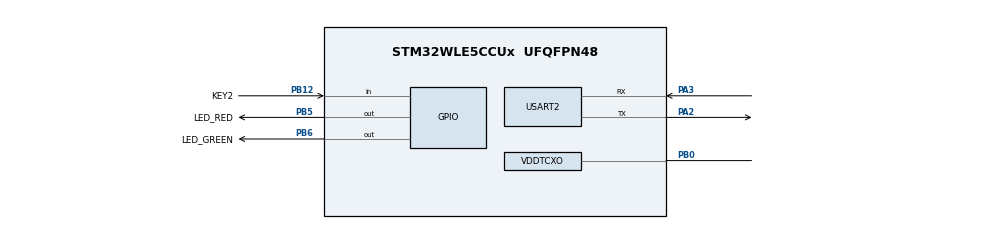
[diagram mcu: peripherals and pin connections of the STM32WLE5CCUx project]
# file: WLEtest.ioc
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FREERTOS.Queues01=myQueue01,2,uint8_t,0,Dynamic,NULL,NULL
FREERTOS.Tasks01=defaultTask,24,128,StartDefaultTask,Default,NULL,Dynamic,NULL,NULL;LEDTask,8,128,Task_LED,Default,NULL,Dynamic,NULL,NULL;KEYTack,8,128,Tack_key,Default,NULL,Dynamic,NULL,NULL
FREERTOS.configUSE_NEWLIB_REENTRANT=1
Mcu.Family=STM32WL
Mcu.Name=STM32WLE5CCUx
Mcu.Package=UFQFPN48
NVIC.PriorityGroup=NVIC_PRIORITYGROUP_4
NVIC.TIM17_IRQn=true\:15\:0\:false\:false\:true\:false\:false\:true
NVIC.TimeBase=TIM17_IRQn
NVIC.TimeBaseIP=TIM17
NVIC.USART2_IRQn=true\:5\:0\:false\:false\:true\:true\:true\:true
OSC_IN.Mode=HSE-TCXO
OSC_IN.Signal=RCC_OSC_IN
PA2.Mode=Asynchronous
PA2.Signal=USART2_TX
PA3.Mode=Asynchronous
PA3.Signal=USART2_RX
PB0-VDD_TCXO.Mode=HSE-TCXO
PB0-VDD_TCXO.Signal=VDDTCXO
PB12.GPIO_Label=KEY2
PB12.Signal=GPIO_Input
PB5.GPIO_Label=LED_RED
PB5.PinState=GPIO_PIN_SET
PB5.Signal=GPIO_Output
PB6.GPIO_Label=LED_GREEN
PB6.GPIO_PuPd=GPIO_NOPULL
PB6.PinState=GPIO_PIN_SET
PB6.Signal=GPIO_Output
ProjectManager.HeapSize=0x200
ProjectManager.StackSize=0x400
ProjectManager.TargetToolchain=STM32CubeIDE
RCC.AHBFreq_Value=4000000
RCC.APB1Freq_Value=4000000
RCC.APB1TimFreq_Value=4000000
RCC.APB2Freq_Value=4000000
RCC.APB2TimFreq_Value=4000000
RCC.APB3Freq_Value=4000000
RCC.CortexFreq_Value=4000000
RCC.HCLKFreq_Value=4000000
RCC.HSE_VALUE=24000000
RCC.HSI_VALUE=16000000
RCC.LSE_VALUE=32768
RCC.PLLN=24
RCC.SYSCLKFreq_VALUE=4000000
RCC.VCOOutputFreq_Value=96000000
USART2.VirtualMode-Asynchronous=VM_ASYNC
VP_FREERTOS_VS_CMSIS_V2.Mode=CMSIS_V2
VP_SYS_VS_tim17.Mode=TIM17
board=custom

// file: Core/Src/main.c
/* USER CODE BEGIN Header */
/**
  ******************************************************************************
  * @file           : main.c
  * @brief          : Main program body
  ******************************************************************************
  * @attention
  *
  * Copyright (c) 2022 STMicroelectronics.
  * All rights reserved.
  *
  * This software is licensed under terms that can be found in the LICENSE file
  * in the root directory of this software component.
  * If no LICENSE file comes with this software, it is provided AS-IS.
  *
  ******************************************************************************
  */
/* USER CODE END Header */
#include "main.h"
#include "cmsis_os.h"
#include "usart.h"
#include "gpio.h"

void SystemClock_Config(void);
void MX_FREERTOS_Init(void);
/* USER CODE BEGIN PFP */
//typedef enum
//{
//	KEY_RELEASE = 0U,
//	KEY_0,
//	KEY_1,
//	KEY_2
//} KEY_State;

/* USER CODE END PFP */

int main(void)
{

  /* MCU Configuration--------------------------------------------------------*/

  /* Reset of all peripherals, Initializes the Flash interface and the Systick. */
  HAL_Init();

  /* Configure the system clock */
  SystemClock_Config();

  /* Initialize all configured peripherals */
  MX_GPIO_Init();
  MX_USART2_UART_Init();
  /* USER CODE BEGIN 2 */
  //GPIOB->BRR = (uint32_t)GPIO_PIN_6;
  /* USER CODE END 2 */

  /* Init scheduler */
  osKernelInitialize();  /* Call init function for freertos objects (in freertos.c) */
  MX_FREERTOS_Init();
  /* Start scheduler */
  osKernelStart();

  /* We should never get here as control is now taken by the scheduler */
  /* Infinite loop */
  /* USER CODE BEGIN WHILE */
  while (1)
  {
	  //HAL_GPIO_WritePin(LED_RED_GPIO_Port, LED_RED_Pin, GPIO_PIN_RESET);
	//  HAL_Delay(2000);
	  //HAL_GPIO_WritePin(LED_RED_GPIO_Port, LED_RED_Pin, GPIO_PIN_SET);
	 // HAL_Delay(1000);

//	  LED_RED_TOGGLE;
<<<<<<< HEAD
//	  if(HAL_GPIO_ReadPin(KEY2_GPIO_Port, KEY2_Pin) == KEY2_PRESS){
//		  LED_RED_TOGGLE;
//		  while(HAL_GPIO_ReadPin(KEY2_GPIO_Port, KEY2_Pin) == KEY2_PRESS){}
//	  }
=======
	  if(HAL_GPIO_ReadPin(KEY2_GPIO_Port, KEY2_Pin) == KEY2_PRESS){
		  LED_GREEN_TOGGLE;
		  while(HAL_GPIO_ReadPin(KEY2_GPIO_Port, KEY2_Pin) == KEY2_PRESS){}
	  }
>>>>>>> 36ef7b47d1cd3d01856f3d4a041b519a8d11bd28
    /* USER CODE END WHILE */

  }
}

void SystemClock_Config(void)
{
  RCC_OscInitTypeDef RCC_OscInitStruct = {0};
  RCC_ClkInitTypeDef RCC_ClkInitStruct = {0};

  /** Configure the main internal regulator output voltage
  */
  __HAL_PWR_VOLTAGESCALING_CONFIG(PWR_REGULATOR_VOLTAGE_SCALE2);
  /** Initializes the CPU, AHB and APB busses clocks
  */
  RCC_OscInitStruct.OscillatorType = RCC_OSCILLATORTYPE_MSI;
  RCC_OscInitStruct.MSIState = RCC_MSI_ON;
  RCC_OscInitStruct.MSICalibrationValue = RCC_MSICALIBRATION_DEFAULT;
  RCC_OscInitStruct.MSIClockRange = RCC_MSIRANGE_6;
  RCC_OscInitStruct.PLL.PLLState = RCC_PLL_NONE;
  if (HAL_RCC_OscConfig(&RCC_OscInitStruct) != HAL_OK)
  {
    Error_Handler();
  }
  /** Configure the SYSCLKSource, HCLK, PCLK1 and PCLK2 clocks dividers
  */
  RCC_ClkInitStruct.ClockType = RCC_CLOCKTYPE_HCLK3|RCC_CLOCKTYPE_HCLK
                              |RCC_CLOCKTYPE_SYSCLK|RCC_CLOCKTYPE_PCLK1
                              |RCC_CLOCKTYPE_PCLK2;
  RCC_ClkInitStruct.SYSCLKSource = RCC_SYSCLKSOURCE_MSI;
  RCC_ClkInitStruct.AHBCLKDivider = RCC_SYSCLK_DIV1;
  RCC_ClkInitStruct.APB1CLKDivider = RCC_HCLK_DIV1;
  RCC_ClkInitStruct.APB2CLKDivider = RCC_HCLK_DIV1;
  RCC_ClkInitStruct.AHBCLK3Divider = RCC_SYSCLK_DIV1;

  if (HAL_RCC_ClockConfig(&RCC_ClkInitStruct, FLASH_LATENCY_0) != HAL_OK)
  {
    Error_Handler();
  }
}

/* USER CODE BEGIN 4 */

//void HAL_GPIO_EXTI_Callback(uint16_t GPIO_Pin)
//{
//  if(GPIO_Pin==KEY2_Pin)
//  {
//	LED_RED_TOGGLE;
//	if(KEY_State==0)
//	{
//	    HAL_Delay(10);
//	    if(HAL_GPIO_ReadPin(KEY2_GPIO_Port,KEY2_Pin)==KEY2_PRESS)
//	    {
//	    	KEY_State=1;
//	    	LED_GREEN_TOGGLE;
//	    }
//
//	}
//	else if(KEY_State == 1)
//	{
//	    HAL_Delay(10);
//	    if(HAL_GPIO_ReadPin(KEY2_GPIO_Port,KEY2_Pin)==KEY2_RELEASE)
//	    {
//	    	KEY_State=0;
//	    }
//
//	}
//    __HAL_GPIO_EXTI_CLEAR_IT(KEY2_Pin);
//  }
//}
//viod HAL_GPIO_EXTI_IRQHandler(uint16_t GPIO_Pin)
//{
//	if(__HAL_GPIO_EXTI_GET_IT(GPIO_Pin) != RESET)
//	{
//		__HAL_GPIO_EXTI_CLEAR_IT(GPIO_Pin);
//		HAL_GPIO_EXTI_Callback(GPIO_Pin);
//	}
//}

/* USER CODE END 4 */

void HAL_TIM_PeriodElapsedCallback(TIM_HandleTypeDef *htim)
{
  if (htim->Instance == TIM17) {
    HAL_IncTick();
  }
}

void Error_Handler(void)
{
  __disable_irq();
  while (1)
  {
  }
}

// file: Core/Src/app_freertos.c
/* USER CODE BEGIN Header */
/**
  ******************************************************************************
  * File Name          : app_freertos.c
  * Description        : Code for freertos applications
  ******************************************************************************
  * @attention
  *
  * Copyright (c) 2022 STMicroelectronics.
  * All rights reserved.
  *
  * This software is licensed under terms that can be found in the LICENSE file
  * in the root directory of this software component.
  * If no LICENSE file comes with this software, it is provided AS-IS.
  *
  ******************************************************************************
  */
/* USER CODE END Header */

#include "FreeRTOS.h"
#include "task.h"
#include "main.h"
#include "cmsis_os.h"

/* USER CODE BEGIN Includes */
#include "usart.h"

/* USER CODE END Includes */

/* Definitions for defaultTask */
osThreadId_t defaultTaskHandle;
const osThreadAttr_t defaultTask_attributes = {
  .name = "defaultTask",
  .priority = (osPriority_t) osPriorityNormal,
  .stack_size = 128 * 4
};
/* Definitions for LEDTask */
osThreadId_t LEDTaskHandle;
const osThreadAttr_t LEDTask_attributes = {
  .name = "LEDTask",
  .priority = (osPriority_t) osPriorityLow,
  .stack_size = 128 * 4
};
/* Definitions for KEYTack */
osThreadId_t KEYTackHandle;
const osThreadAttr_t KEYTack_attributes = {
  .name = "KEYTack",
  .priority = (osPriority_t) osPriorityLow,
  .stack_size = 128 * 4
};
/* Definitions for myQueue01 */
osMessageQueueId_t myQueue01Handle;
const osMessageQueueAttr_t myQueue01_attributes = {
  .name = "myQueue01"
};

void StartDefaultTask(void *argument);
void Task_LED(void *argument);
void Tack_key(void *argument);

void MX_FREERTOS_Init(void); /* (MISRA C 2004 rule 8.1) */

void MX_FREERTOS_Init(void) {

  /* Create the queue(s) */
  /* creation of myQueue01 */
  myQueue01Handle = osMessageQueueNew (2, sizeof(uint8_t), &myQueue01_attributes);

  /* Create the thread(s) */
  /* creation of defaultTask */
  defaultTaskHandle = osThreadNew(StartDefaultTask, NULL, &defaultTask_attributes);

  /* creation of LEDTask */
  LEDTaskHandle = osThreadNew(Task_LED, NULL, &LEDTask_attributes);

  /* creation of KEYTack */
  KEYTackHandle = osThreadNew(Tack_key, NULL, &KEYTack_attributes);

}

void StartDefaultTask(void *argument)
{
  for(;;)
  {
    osDelay(1);
  }
}

void Task_LED(void *argument)
{
  /* USER CODE BEGIN Task_LED */
  /* Infinite loop */
  for(;;)
  {
	static uint8_t msg = 0;
	if (osMessageQueueGetCount(myQueue01Handle) != 0){
		osMessageQueueGet (myQueue01Handle, &msg, NULL, 0);
		if(msg == 0){
			LED_RED_OFF;
			LED_GREEN_OFF;
		}
		else if(msg == 1){
			LED_GREEN_ON;
		}
		else if(msg == 2){
			LED_RED_ON;
		}
	}
    uint8_t aTxBuffer[]="123";
    HAL_UART_Transmit(&huart2, aTxBuffer, sizeof(aTxBuffer),0xffff);
    osDelay(1);

  }
  /* USER CODE END Task_LED */
}

void Tack_key(void *argument)
{
  /* USER CODE BEGIN Tack_key */
  /* Infinite loop */
  for(;;)
  {
	  if(HAL_GPIO_ReadPin(KEY2_GPIO_Port, KEY2_Pin) == KEY2_PRESS){
		  osDelay(10);
		  if(HAL_GPIO_ReadPin(KEY2_GPIO_Port, KEY2_Pin) == KEY2_PRESS){
	//		  LED_GREEN_TOGGLE;
			  uint32_t tickstart = HAL_GetTick();
			  uint8_t KEY_State = 0;
	//		  if (wait < HAL_MAX_DELAY)
	//		  {
	//		    wait += (uint32_t)(uwTickFreq);
	//		  }

			  while(HAL_GPIO_ReadPin(KEY2_GPIO_Port, KEY2_Pin) == KEY2_PRESS){
				  osDelay(100);
			  }
			  if((HAL_GetTick() - tickstart) < KEY2_TIME1){
				  KEY_State = 0;
			  }
			  else if((HAL_GetTick() - tickstart) < KEY2_TIME2){
				  KEY_State = 1;
			  }
			  else{
				  KEY_State = 2;
			  }
			  osMessageQueuePut(myQueue01Handle, &KEY_State, 0, 10);
		  }
	  }
	  osDelay(1);
  }
  /* USER CODE END Tack_key */
}
